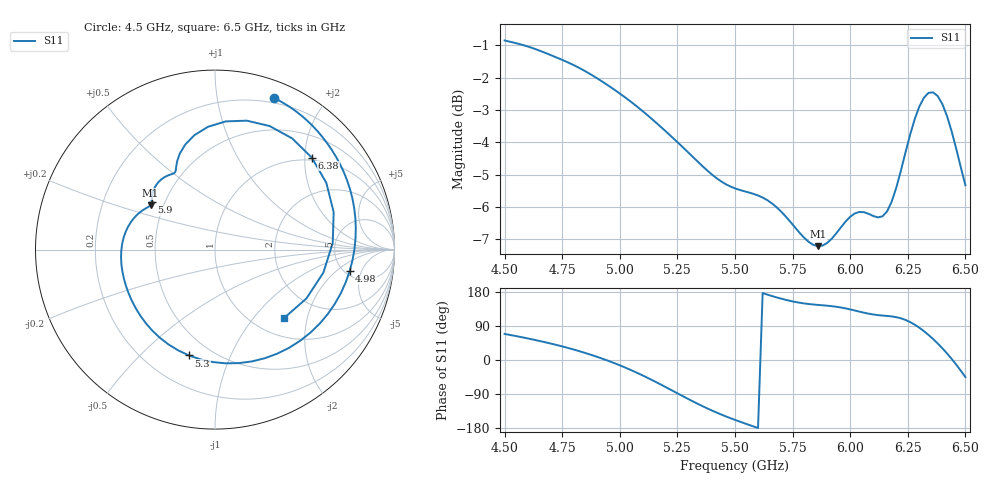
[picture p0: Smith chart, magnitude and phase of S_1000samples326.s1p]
! TOUCHSTONE file generated by CST MICROWAVE STUDIO
! Date and time: Thu Oct 27 19:08:09 2022
! Project name: L.cst
! Parameters = {Di=1.27; Epsilon_r=1.56; InnerDiameter=1.27; Length=2; Lf=10; Lg=60; OuterConductorThickness=0.2921; OuterDiameter=3.6; Wf=3; Wp=41.2; de=1.5; df=6.8; g=0.8; gx=4.11131; gy=0.460374; h=2.34; hf=1.524; px=12.0407; py=10.5885; w=9.7; wx=7.92943; wy=10.1281}
! Header version: 2018
! Port assignment regex: !\s*Touchstone port\s*([0-9]+)\s*=\s*(CST MWS port|CST DS port)\s*([0-9]+|Zmin|Zmax)\s*\(\"(.*)\"\)(\s*mode\s*([0-9]+))?.*
! Touchstone port assignment:
! Touchstone port 1 = CST MWS port 1 ("")
# GHz S DB R 50
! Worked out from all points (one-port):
!   101 points, 4.5 GHz to 6.5 GHz, reference 50 ohm
!   lowest |S11| = -7.2 dB at 5.86 GHz (marker M1), VSWR 2.55, Z = 21.2 + j13 ohm
!   |S11| at or under -10 dB: nowhere
!   S11 on the Smith chart (normalised r, x): 4.5 GHz: 0.15, +1.45; 4.98 GHz: 5.49, -3.13; 5.3 GHz: 0.38, -0.71; 5.9 GHz: 0.42, +0.28; 6.38 GHz: 0.94, +2.16; 6.5 GHz: 1.34, -1.45
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4.5  -0.85 68.7
4.62  -1.08 54.4
4.76  -1.48 34.3
4.88  -1.92 12.7
4.98  -2.39 -9.1
5  -2.49 -14.0
5.06  -2.81 -29.7
5.14  -3.28 -53.0
5.2  -3.66 -71.8
5.26  -4.06 -91.1
5.3  -4.33 -103.8
5.4  -5.00 -133.4
5.5  -5.42 -158.0
5.62  -5.71 176.5
5.76  -6.63 153.4
5.86  -7.21 145.4
5.9  -7.11 143.3
6  -6.30 133.5
6.18  -5.84 115.0
6.22  -4.88 110.1
6.26  -3.77 100.1
6.32  -2.62 76.1
6.34  -2.47 66.1
6.38  -2.57 43.5
6.42  -3.18 17.5
6.44  -3.65 3.2
6.46  -4.19 -12.0
6.5  -5.33 -45.0
